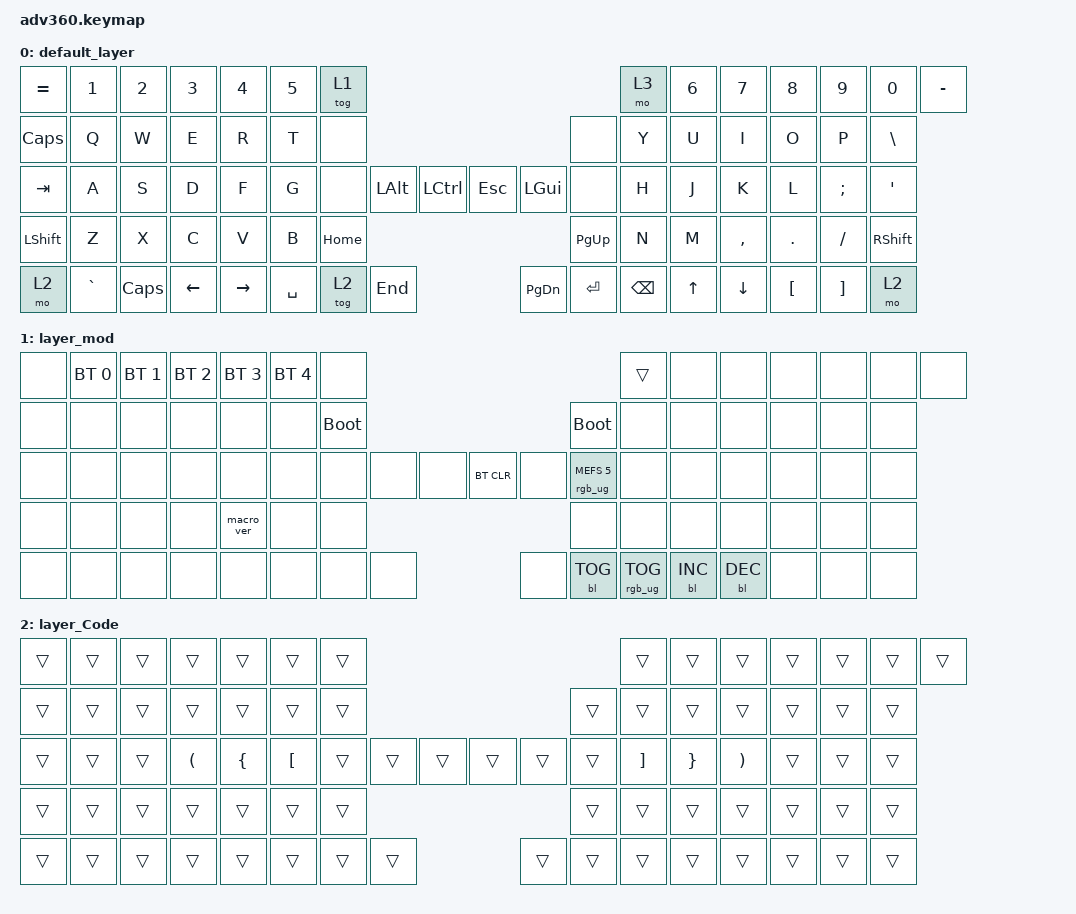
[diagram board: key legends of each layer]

/*
 * Copyright (c) 2020 The ZMK Contributors
 *
 * SPDX-License-Identifier: MIT
 */


/* THIS FILE WAS GENERATED!
 *
 * This file was generated automatically. You may or may not want to
 * edit it directly.
 */

#include <behaviors.dtsi>
#include <dt-bindings/zmk/keys.h>
#include <dt-bindings/zmk/bt.h>
#include <dt-bindings/zmk/rgb.h>
#include <dt-bindings/zmk/backlight.h>

/ {
  behaviors {
    #include "macros.dtsi"
    #include "version.dtsi"

    hm: homerow_mods {
        compatible = "zmk,behavior-hold-tap";
        label = "HOMEROW_MODS";
        #binding-cells = <2>;
        tapping-term-ms = <200>;
        quick_tap_ms = <175>;
        flavor = "tap-preferred";
        bindings = <&kp>, <&kp>;
    };
  };

    keymap {
        compatible = "zmk,keymap";


        default_layer {
            bindings = <
    &kp EQUAL     &kp N1    &kp N2    &kp N3     &kp N4  &kp N5               &tog 1                                                                &mo 3  &kp N6  &kp N7     &kp N8    &kp N9    &kp N0        &kp MINUS
 &kp CAPSLOCK      &kp Q     &kp W     &kp E      &kp R   &kp T                &none                                                                &none   &kp Y   &kp U      &kp I     &kp O     &kp P         &kp BSLH
      &kp TAB      &kp A     &kp S     &kp D      &kp F   &kp G                &none  &kp LALT  &kp LCTRL                    &kp ESC   &kp LGUI     &none   &kp H   &kp J      &kp K     &kp L  &kp SEMI          &kp SQT
    &kp LSHFT      &kp Z     &kp X     &kp C      &kp V   &kp B                                  &kp HOME                  &kp PG_UP                        &kp N   &kp M  &kp COMMA   &kp DOT  &kp FSLH  &kp RIGHT_SHIFT
        &mo 2  &kp GRAVE  &kp CAPS  &kp LEFT  &kp RIGHT                    &kp SPACE    &tog 2    &kp END                  &kp PG_DN  &kp ENTER  &kp BSPC          &kp UP   &kp DOWN  &kp LBKT  &kp RBKT            &mo 2
            >;
        };

        layer_mod {
            bindings = <
  &none  &bt BT_SEL 0  &bt BT_SEL 1  &bt BT_SEL 2  &bt BT_SEL 3  &bt BT_SEL 4                  &none                                                                          &trans   &none       &none       &none   &none   &none   &none
  &none         &none         &none         &none         &none         &none            &bootloader                                                                     &bootloader   &none       &none       &none   &none   &none   &none
  &none         &none         &none         &none         &none         &none                  &none   &none   &none                  &bt BT_CLR       &none  &rgb_ug RGB_MEFS_CMD 5   &none       &none       &none   &none   &none   &none
  &none         &none         &none         &none    &macro_ver         &none                                  &none                       &none                                       &none       &none       &none   &none   &none   &none
  &none         &none         &none         &none         &none                                &none   &none   &none                       &none  &bl BL_TOG         &rgb_ug RGB_TOG          &bl BL_INC  &bl BL_DEC   &none   &none   &none
            >;
        };

        layer_Code {
            bindings = <
 &trans  &trans  &trans                &trans          &trans            &trans            &trans                                                  &trans             &trans           &trans                 &trans  &trans  &trans  &trans
 &trans  &trans  &trans                &trans          &trans            &trans            &trans                                                  &trans             &trans           &trans                 &trans  &trans  &trans  &trans
 &trans  &trans  &trans  &kp LEFT_PARENTHESIS  &kp LEFT_BRACE  &kp LEFT_BRACKET            &trans  &trans  &trans                  &trans  &trans  &trans  &kp RIGHT_BRACKET  &kp RIGHT_BRACE  &kp RIGHT_PARENTHESIS  &trans  &trans  &trans
 &trans  &trans  &trans                &trans          &trans            &trans                            &trans                  &trans                             &trans           &trans                 &trans  &trans  &trans  &trans
 &trans  &trans  &trans                &trans          &trans                              &trans  &trans  &trans                  &trans  &trans  &trans                              &trans                 &trans  &trans  &trans  &trans
            >;
        };

    };
};
